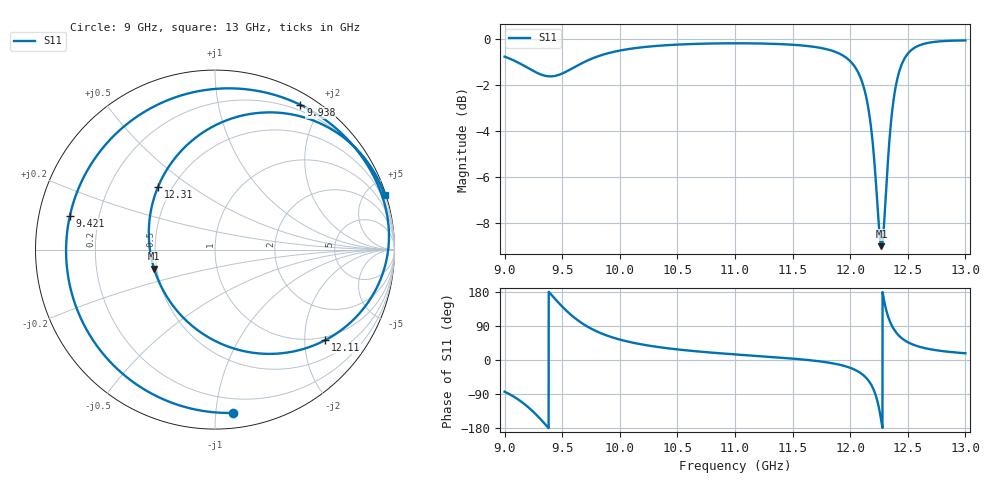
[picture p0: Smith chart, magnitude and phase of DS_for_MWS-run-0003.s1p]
! TOUCHSTONE file generated by CST DESIGN STUDIO
! Date and time: Tue Feb  4 16:38:35 2025
! Project name: C:\Work\MatlabApps\UnitCellOptimizationMatlab\CST\unitcell.cst
! Tree item: Tasks\Sweep1\SPara1\S-Parameters
! Header version: 2024
! Port assignment regex: !\s*Touchstone port\s*([0-9]+)\s*=\s*(CST MWS port|CST DES external port|CST DES block port)\s*(.+)\s* \(\"(.*)\"\)(\s*mode\s*([0-9]+))?.*
! Touchstone port assignment:
! Touchstone port 1 = CST DES external port 1 ("")
# GHz S MA R 50
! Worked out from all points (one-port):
!   4001 points, 9 GHz to 13 GHz, reference 50 ohm
!   lowest |S11| = -9.0 dB at 12.27 GHz (marker M1), VSWR 2.10, Z = 24.2 - j5.87 ohm
!   |S11| at or under -10 dB: nowhere
!   S11 on the Smith chart (normalised r, x): 9 GHz: 0.10, -1.11; 9.421 GHz: 0.09, +0.11; 9.938 GHz: 0.13, +1.74; 12.11 GHz: 0.91, -2.50; 12.31 GHz: 0.42, +0.37; 13 GHz: 0.16, +6.39
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9  0.9154 -83.6
9.117  0.8887 -104.0
9.212  0.8625 -126.4
9.327  0.8352 -161.1
9.421  0.8302 166.9
9.5  0.8413 141.0
9.583  0.8621 117.4
9.672  0.8862 97.0
9.801  0.9151 75.3
9.938  0.9364 59.4
10  0.9435 53.9
10.215  0.9604 39.8
10.5  0.972 27.9
11  0.9785 14.8
11.5  0.9713 3.7
11.799  0.9495 -6.3
12  0.8949 -20.6
12.112  0.7947 -39.4
12.205  0.5606 -79.3
12.237  0.4347 -109.4
12.271  0.3554 -162.6
12.312  0.4709 132.6
12.347  0.6306 100.2
12.383  0.7567 79.4
12.438  0.8686 60.0
12.5  0.9288 47.0
12.672  0.98 29.7
13  0.9924 17.8
